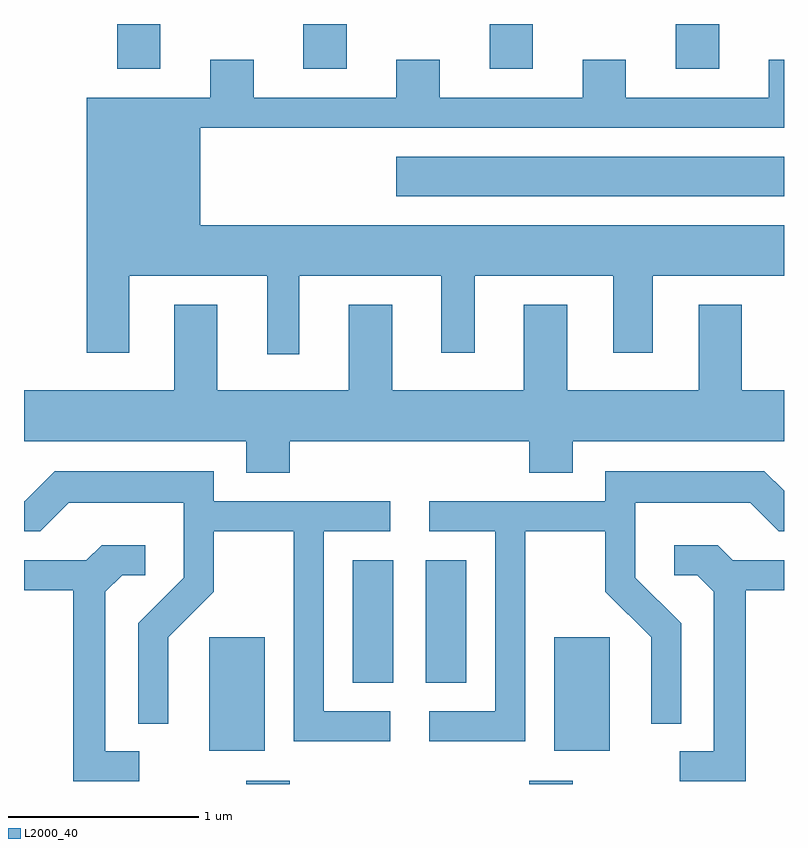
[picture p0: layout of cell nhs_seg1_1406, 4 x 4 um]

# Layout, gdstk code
import gdstk
lib = gdstk.Library(unit=1e-6, precision=1e-09)
def R(c, l, rs):  # rectangles x0, y0, x1, y1
    for r in rs: c.add(gdstk.rectangle(r[:2], r[2:], *l))
def A(c, l, x, y, w, h, nx, ny, dx, dy):  # array of equal rectangles
    R(c, l, [(x+i*dx, y+j*dy, x+i*dx+w, y+j*dy+h) for i in range(nx) for j in range(ny)])
def P(c, l, *ps):  # polygons
    for p in ps: c.add(gdstk.Polygon(p, *l))
L2000_40 = (2000, 40)

nhs_seg1_1406 = lib.new_cell('nhs_seg1_1406')
A(nhs_seg1_1406, L2000_40, 228.101, 961.476, 0.228, 0.236, 4, 1, 0.98, 0)
R(nhs_seg1_1406, L2000_40, [(228.781,957.712,229.009,957.729), (230.271,957.712,230.499,957.729), (228.586,957.886,228.879,958.484), (230.401,957.886,230.694,958.484), (229.341,958.246,229.554,958.889), (229.726,958.246,229.939,958.889), (229.571,960.806,231.611,961.014)])
P(nhs_seg1_1406, L2000_40, [(229.059,960.386),(229.806,960.386),(229.806,959.981),(229.984,959.981),(229.984,960.386),(230.711,960.386),(230.711,959.981),(230.919,959.981),(230.919,960.386),(231.611,960.386),(231.611,960.654),(228.539,960.654),(228.539,961.166),(231.611,961.166),(231.611,961.524),(231.531,961.524),(231.531,961.324),(230.779,961.324),(230.779,961.524),(230.551,961.524),(230.551,961.324),(229.799,961.324),(229.799,961.524),(229.571,961.524),(229.571,961.324),(228.819,961.324),(228.819,961.524),(228.591,961.524),(228.591,961.324),(227.941,961.324),(227.941,959.981),(228.164,959.981),(228.164,960.386),(228.891,960.386),(228.891,959.973),(229.059,959.973)],
  [(229.009,959.516),(230.271,959.516),(230.271,959.351),(230.499,959.351),(230.499,959.516),(231.611,959.516),(231.611,959.784),(231.389,959.784),(231.389,960.234),(231.161,960.234),(231.161,959.784),(230.469,959.784),(230.469,960.234),(230.241,960.234),(230.241,959.784),(229.549,959.784),(229.549,960.234),(229.321,960.234),(229.321,959.784),(228.629,959.784),(228.629,960.234),(228.401,960.234),(228.401,959.784),(227.611,959.784),(227.611,959.516),(228.781,959.516),(228.781,959.351),(229.009,959.351)],
  [(229.538,958.094),(229.189,958.094),(229.189,959.041),(229.538,959.041),(229.538,959.199),(228.609,959.199),(228.609,959.359),(227.774,959.359),(227.614,959.199),(227.611,959.199),(227.611,959.041),(227.697,959.041),(227.847,959.191),(228.451,959.191),(228.451,958.797),(228.211,958.557),(228.211,958.028),(228.369,958.028),(228.369,958.484),(228.609,958.724),(228.609,959.041),(229.031,959.041),(229.031,957.936),(229.538,957.936)],
  [(230.249,959.041),(230.671,959.041),(230.671,958.724),(230.911,958.484),(230.911,958.028),(231.069,958.028),(231.069,958.557),(230.829,958.797),(230.829,959.191),(231.434,959.191),(231.584,959.041),(231.611,959.041),(231.611,959.255),(231.507,959.359),(230.671,959.359),(230.671,959.199),(229.743,959.199),(229.743,959.041),(230.091,959.041),(230.091,958.094),(229.743,958.094),(229.743,957.936),(230.249,957.936)],
  [(231.409,958.731),(231.611,958.731),(231.611,958.889),(231.342,958.889),(231.262,958.969),(231.033,958.969),(231.033,958.811),(231.154,958.811),(231.241,958.724),(231.241,957.884),(231.063,957.884),(231.063,957.726),(231.409,957.726)],
  [(228.218,957.884),(228.039,957.884),(228.039,958.724),(228.127,958.811),(228.248,958.811),(228.248,958.969),(228.019,958.969),(227.939,958.889),(227.611,958.889),(227.611,958.731),(227.871,958.731),(227.871,957.726),(228.218,957.726)])

lib.write_gds('nhs_seg1_1406.gds')
